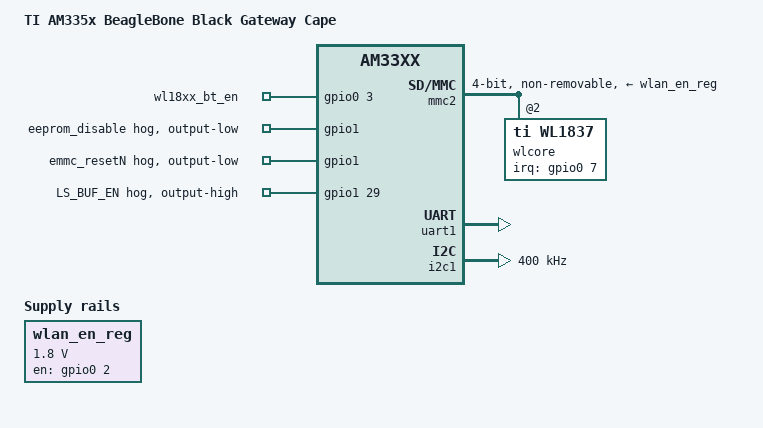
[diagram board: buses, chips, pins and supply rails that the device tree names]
/*
 * Copyright (C) 2012 Texas Instruments Incorporated - http://www.ti.com/
 *
 * This program is free software; you can redistribute it and/or modify
 * it under the terms of the GNU General Public License version 2 as
 * published by the Free Software Foundation.
 */
/dts-v1/;
/plugin/;

#include <dt-bindings/gpio/gpio.h>
#include <dt-bindings/pinctrl/am33xx.h>
#include <dt-bindings/interrupt-controller/irq.h>

/ {
	compatible = "ti,beaglebone", "ti,beaglebone-black";

	/* identification */
	part-number = "BB-GATEWAY-WL1837";
	version = "00A0";

	/* state the resources this cape uses */
	exclusive-use =
		/* the pin header uses */
		"P8.25",	/* sdio: data0 */
		"P8.24",	/* sdio: data1 */
		"P8.5",		/* sdio: data2 */
		"P8.6",		/* sdio: data3 */
		"P8.21",	/* sdio: clk */
		"P8.20",	/* sdio: cmd */
		"P9.19",	/* uart1: rtsn */
		"P9.20",	/* uart1: ctsn */
		"P9.26",	/* uart1: rxd */
		"P9.24",	/* uart1: txd */
		"P9.17",	/* i2c1 */
		"P9.18",	/* i2c1 */

		"gpio0_2",	/* WL_EN */
		"gpio0_7",	/* WL_IRQ */
		"gpio0_3",	/* BT_EN */
		"gpio1_29",	/* BUF_ENABLE */
		"gpio2_2", 	/* Audio_sync */
		"gpio1_20",	/* EMMC ResetN */
		"gpio1_16",	/* EEPROM Enable */

		/* the hardware ip uses */
		"mmc2",
		"uart1",
		"i2c1";

	/*
	 * Helper to show loaded overlays under: /proc/device-tree/chosen/overlays/
	 */
	fragment@0 {
		target-path="/";
		__overlay__ {

			chosen {
				overlays {
					BB-GATEWAY-WL1837-00A0 = __TIMESTAMP__;
				};
			};
		};
	};

	/*
	 * Free up the pins used by the cape from the pinmux helpers.
	 */
	fragment@1 {
		target = <&ocp>;
		__overlay__ {
			P9_21_pinmux { status = "disabled"; };	/* P9_21: gpio0_3 BT_EN */

			P8_26_pinmux { status = "disabled"; };	/* P8_26: gpmc_csn0.gpio1_29 LS_BUF_EN */

			P9_15_pinmux { status = "disabled"; };	/* P9_15: EEPROM Disable */

			P8_21_pinmux { status = "disabled"; };	/* P8_21: gpmc_csn1.mmc1_clk */
			P8_20_pinmux { status = "disabled"; };	/* P8_20: gpmc_csn2.mmc1_cmd */
			P8_25_pinmux { status = "disabled"; };	/* P8_25: gpmc_ad0.mmc1_dat0 */
			P8_24_pinmux { status = "disabled"; };	/* P8_24: gpmc_ad1.mmc1_dat1 */
			P8_05_pinmux { status = "disabled"; };	/* P8_05: gpmc_ad2.mmc1_dat2 */
			P8_06_pinmux { status = "disabled"; };	/* P8_06: gpmc_ad3.mmc1_dat3 */

			P9_22_pinmux { status = "disabled"; };	/* P9_22: gpio0_2 WL_EN */
			P9_42_pinmux { status = "disabled"; };	/* P9_42: gpio0_7 WL_IRQ */
			P8_07_pinmux { status = "disabled"; };	/* P8_07: gpmc_advn_ale.gpio2_2 Audio_sync */


			P9_26_pinmux { status = "disabled"; };	/* P9_26: (D16) uart1_rxd.uart1_rxd */
			P9_24_pinmux { status = "disabled"; };	/* P9_24: (D15) uart1_txd.uart1_txd */
			P9_20_pinmux { status = "disabled"; };	/* P9_20: (D18) uart1_ctsn.uart1_ctsn */
			P9_19_pinmux { status = "disabled"; };	/* P9_19: (D17) uart1_rtsn.uart1_rtsn */


			P9_17_pinmux { status = "disabled"; };	/* P9_17: i2c1 */
			P9_18_pinmux { status = "disabled"; };	/* P9_18: i2c1 */
		};
	};

	fragment@2 {
		target-path="/";
		__overlay__ {
			model = "TI AM335x BeagleBone Black Gateway Cape";
			compatible = "ti,am335x-bone-black", "ti,am335x-bone", "ti,am33xx";

			wlan_en_reg: fixedregulator@2 {
				compatible = "regulator-fixed";
				regulator-name = "wlan-en-regulator";
				regulator-min-microvolt = <1800000>;
				regulator-max-microvolt = <1800000>;
				startup-delay-us= <70000>;

				/* WL_EN */
				gpio = <&gpio0 2 0>;
				enable-active-high;
			};

			leds {
				pinctrl-names = "default";
				pinctrl-0 = <&wl18xx_pins>;
				compatible = "gpio-leds";

				wl18xx_bt_en {
					label = "wl18xx_bt_en";
					gpios = <&gpio0 3 GPIO_ACTIVE_HIGH>;
					default-state = "off";
				};
			};
		};
	};

	fragment@3 {
		target = <&am33xx_pinmux>;
		__overlay__ {
			wl18xx_pins: pinmux_wl18xx_pins {
				pinctrl-single,pins = <
					AM33XX_IOPAD(0x954, PIN_OUTPUT_PULLUP | MUX_MODE7)	/* P9_21: gpio0_3 BT_EN */
				>;
			};

			wlbtbuf_pin: pinmux_wlbtbuf_pin {
				pinctrl-single,pins = <
					AM33XX_IOPAD(0x87C, PIN_OUTPUT_PULLUP | MUX_MODE7)	/* P8_26: gpmc_csn0.gpio1_29 LS_BUF_EN */
				>;
			};

			btbuf_pin: pinmux_btbuf_pin {
				pinctrl-single,pins = <
					AM33XX_IOPAD(0x840, PIN_OUTPUT_PULLDOWN | MUX_MODE7)	/* P9_15: EEPROM Disable */
				>;
			};

			mmc2_pins: pinmux_mmc2_pins {
				pinctrl-single,pins = <
					AM33XX_IOPAD(0x880, PIN_INPUT_PULLUP | MUX_MODE2)	/* P8_21: gpmc_csn1.mmc1_clk */
					AM33XX_IOPAD(0x884, PIN_INPUT_PULLUP | MUX_MODE2)	/* P8_20: gpmc_csn2.mmc1_cmd */
					AM33XX_IOPAD(0x800, PIN_INPUT_PULLUP | MUX_MODE1)	/* P8_25: gpmc_ad0.mmc1_dat0 */
					AM33XX_IOPAD(0x804, PIN_INPUT_PULLUP | MUX_MODE1)	/* P8_24: gpmc_ad1.mmc1_dat1 */
					AM33XX_IOPAD(0x808, PIN_INPUT_PULLUP | MUX_MODE1)	/* P8_05: gpmc_ad2.mmc1_dat2 */
					AM33XX_IOPAD(0x80c, PIN_INPUT_PULLUP | MUX_MODE1)	/* P8_06: gpmc_ad3.mmc1_dat3 */
				>;
			};

			mmc2_pins_sleep: pinmux_mmc2_pins_sleep {
				pinctrl-single,pins = <
					AM33XX_IOPAD(0x880, PIN_INPUT_PULLDOWN | MUX_MODE2)	/* P8_21: gpmc_csn1.mmc1_clk */
					AM33XX_IOPAD(0x884, PIN_INPUT_PULLDOWN | MUX_MODE2)	/* P8_20: gpmc_csn2.mmc1_cmd */
					AM33XX_IOPAD(0x800, PIN_INPUT_PULLDOWN | MUX_MODE1)	/* P8_25: gpmc_ad0.mmc1_dat0 */
					AM33XX_IOPAD(0x804, PIN_INPUT_PULLDOWN | MUX_MODE1)	/* P8_24: gpmc_ad1.mmc1_dat1 */
					AM33XX_IOPAD(0x808, PIN_INPUT_PULLDOWN | MUX_MODE1)	/* P8_05: gpmc_ad2.mmc1_dat2 */
					AM33XX_IOPAD(0x80c, PIN_INPUT_PULLDOWN | MUX_MODE1)	/* P8_06: gpmc_ad3.mmc1_dat3 */
				>;
			};

			/* wl18xx card enable/irq GPIOs. */
			wlan_pins: pinmux_wlan_pins {
				pinctrl-single,pins = <
					AM33XX_IOPAD(0x950, PIN_OUTPUT_PULLUP | MUX_MODE7)	/* P9_22: gpio0_2 WL_EN */
					AM33XX_IOPAD(0x964, PIN_INPUT_PULLUP | MUX_MODE7)	/* P9_42: gpio0_7 WL_IRQ */
					AM33XX_IOPAD(0x890, PIN_OUTPUT_PULLDOWN | MUX_MODE7)	/* P8_07: gpmc_advn_ale.gpio2_2 Audio_sync */
				>;
			};

			/* wl18xx card enable/irq GPIOs. */
			wlan_pins_sleep: pinmux_wlan_pins_sleep {
				pinctrl-single,pins = <
					AM33XX_IOPAD(0x950, PIN_OUTPUT_PULLUP | MUX_MODE7)	/* P9_22: gpio0_2 WL_EN */
					AM33XX_IOPAD(0x964, PIN_INPUT_PULLUP | MUX_MODE7)	/* P9_42: gpio0_7 WL_IRQ */
					AM33XX_IOPAD(0x890, PIN_OUTPUT_PULLDOWN | MUX_MODE7)	/* P8_07: gpmc_advn_ale.gpio2_2 Audio_sync */
				>;
			};

			uart1_pins_default: pinmux_uart1_pins_default {
				pinctrl-single,pins = <
					AM33XX_IOPAD(0x980, PIN_INPUT_PULLUP | MUX_MODE0)	/* P9_26: (D16) uart1_rxd.uart1_rxd */
					AM33XX_IOPAD(0x984, PIN_OUTPUT_PULLDOWN | MUX_MODE0)	/* P9_24: (D15) uart1_txd.uart1_txd */
					AM33XX_IOPAD(0x978, PIN_INPUT | MUX_MODE0)		/* P9_20: (D18) uart1_ctsn.uart1_ctsn */
					AM33XX_IOPAD(0x97c, PIN_OUTPUT_PULLDOWN | MUX_MODE0)	/* P9_19: (D17) uart1_rtsn.uart1_rtsn */
				>;
			};

			uart1_pins_sleep: pinmux_uart1_pins_sleep {
				pinctrl-single,pins = <
					AM33XX_IOPAD(0x980, PIN_INPUT_PULLDOWN | MUX_MODE7)	/* P9_26: (D16) uart1_rxd.uart1_rxd */
					AM33XX_IOPAD(0x984, PIN_INPUT_PULLDOWN | MUX_MODE7)	/* P9_24: (D15) uart1_txd.uart1_txd */
					AM33XX_IOPAD(0x978, PIN_INPUT_PULLDOWN | MUX_MODE7)	/* P9_20: (D18) uart1_ctsn.uart1_ctsn */
					AM33XX_IOPAD(0x97c, PIN_INPUT_PULLDOWN | MUX_MODE7)	/* P9_19: (D17) uart1_rtsn.uart1_rtsn */
				>;
			};

			bb_i2c1_pins: pinmux_bb_i2c1_pins {
				pinctrl-single,pins = <
					AM33XX_IOPAD(0x95c, PIN_INPUT_PULLUP | MUX_MODE2)	/* P9_17: i2c1 */
					AM33XX_IOPAD(0x958, PIN_INPUT_PULLUP | MUX_MODE2)	/* P9_18: i2c1 */
				>;
			};
		};
	};

	fragment@4 {
		target = <&i2c2>;
		__overlay__ {
			status = "disabled";
		};
	};

	fragment@5 {
		target = <&mmc2>;
		__overlay__ {
			status = "okay";
			vmmc-supply = <&wlan_en_reg>;
			bus-width = <4>;
			non-removable;
			cap-power-off-card;
			ti,needs-special-hs-handling;
			keep-power-in-suspend;
			pinctrl-names = "default", "sleep";
			pinctrl-0 = <&mmc2_pins &wlan_pins &wlbtbuf_pin>;
			pinctrl-1 = <&mmc2_pins_sleep &wlan_pins_sleep &wlbtbuf_pin>;

			#address-cells = <1>;
			#size-cells = <0>;
			wlcore: wlcore@2 {
				compatible = "ti,wl1837";
				reg = <2>;
				interrupt-parent = <&gpio0>;
				interrupts = <7 IRQ_TYPE_EDGE_RISING>;
			};
		};
	};

	fragment@6 {
		target = <&uart1>;
		__overlay__ {
			pinctrl-names = "default", "sleep";
			pinctrl-0 = <&uart1_pins_default &btbuf_pin>;
			pinctrl-1 = <&uart1_pins_sleep &btbuf_pin>;
			status = "okay";
		};
	};

	fragment@7 {
		target = <&gpio1>;
		__overlay__ {
			eeprom_disable {
				gpio-hog;
				gpio = <16 GPIO_ACTIVE_LOW>;
				output-low;
				line-name = "eeprom_disable";
			};
			emmc_rst {
				gpio-hog;
				gpio = <20 GPIO_ACTIVE_LOW>;
				output-low;
				line-name = "emmc_resetN";
			};
			ls_buf_en {
				gpio-hog;
				gpios = <29 GPIO_ACTIVE_HIGH>;
				output-high;
				line-name = "LS_BUF_EN";
			};
		};
	};

	fragment@8 {
		target = <&i2c1>;
		__overlay__ {
			pinctrl-names = "default";
			pinctrl-0 = <&bb_i2c1_pins>;
			status = "okay";
			clock-frequency = <400000>;
		};
	};
};
